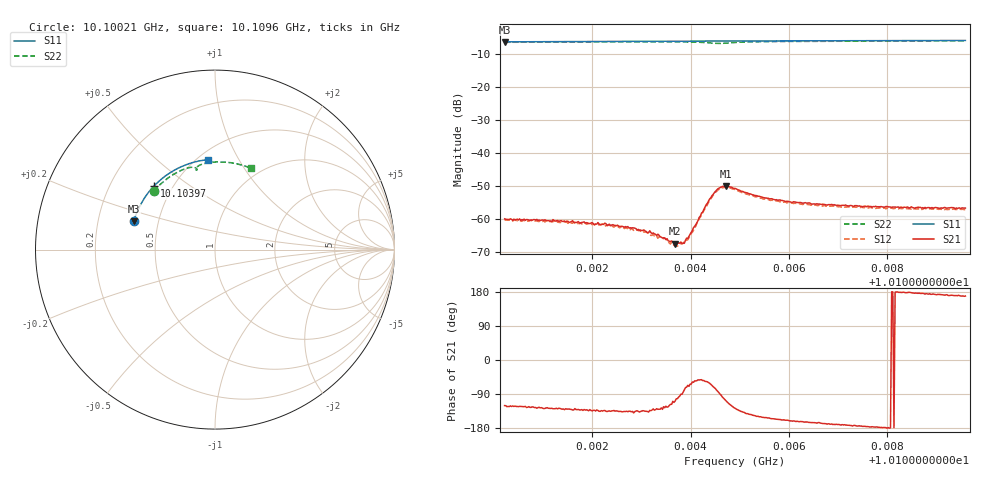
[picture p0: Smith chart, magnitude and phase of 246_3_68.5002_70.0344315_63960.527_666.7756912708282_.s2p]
#  HZ  S  RI  R  50.00
! Rohde & Schwarz Vector Network Analyzer
! Rohde-Schwarz,ZNB20-2Port,1311601062101988,3.16
! Created: UTC 3/20/2024, 4:59:39 PM
! freq[Hz]  re:S11  im:S11  re:S21  im:S21  re:S12  im:S12  re:S22  im:S22
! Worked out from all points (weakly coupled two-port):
!   401 points, 10.10021 GHz to 10.1096 GHz, reference 50 ohm
!   highest |S21| = -50.00 dB at 10.10472 GHz (marker M1); lowest = -67.3 dB at 10.10369 GHz (marker M2)
!   lowest |S11| = -6.4 dB at 10.10021 GHz (marker M3), VSWR 2.84, Z = 18 + j7.41 ohm
!   |S11| at or under -10 dB: nowhere
!   |S22| runs from -6.9 to -6.1 dB; largest |S21 - S12| = 0.00033
!   S11 on the Smith chart (normalised r, x): 10.10021 GHz: 0.36, +0.15; 10.10397 GHz: 0.40, +0.37; 10.1096 GHz: 0.56, +0.75
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1.0100213e10  -0.4524 0.1581  -0.000515 -0.000878  -0.000436 -0.000863  -0.341 0.3262
1.0101245e10  -0.4308 0.2173  -0.000585 -0.000736  -0.00051 -0.000752  -0.2936 0.3732
1.0101785e10  -0.4168 0.247  -0.000588 -0.00068  -0.000518 -0.00068  -0.2663 0.3953
1.0102301e10  -0.4012 0.2742  -0.000582 -0.000562  -0.000508 -0.000619  -0.2385 0.4144
1.0102911e10  -0.3806 0.305  -0.000476 -0.000495  -0.000475 -0.000508  -0.2035 0.4342
1.0103216e10  -0.3695 0.3199  -0.000408 -0.000454  -0.000337 -0.000464  -0.1848 0.4429
1.0103357e10  -0.3642 0.3267  -0.000369 -0.000444  -0.000313 -0.000442  -0.1758 0.4467
1.0103474e10  -0.3597 0.3321  -0.000306 -0.000421  -0.000289 -0.000439  -0.1682 0.4497
1.0103685e10  -0.3514 0.3419  -0.000137 -0.000409  -5.86e-05 -0.000395  -0.1539 0.4542
1.010385e10  -0.3446 0.3492  3.88e-05 -0.000433  8.35e-05 -0.000429  -0.1421 0.4571
1.0103896e10  -0.3427 0.3513  0.000142 -0.000461  0.000168 -0.000432  -0.1386 0.4577
1.0103967e10  -0.3398 0.3543  0.000194 -0.00052  0.000232 -0.000473  -0.1331 0.4585
1.0104342e10  -0.3234 0.3704  0.000935 -0.00147  0.000999 -0.00134  -0.1044 0.4531
1.0104459e10  -0.3183 0.3752  0.0008 -0.00224  0.000981 -0.0021  -0.0999 0.4466
1.01046e10  -0.3122 0.381  -3.07e-06 -0.00302  0.000232 -0.00287  -0.1024 0.4419
1.0104718e10  -0.3068 0.3856  -0.000944 -0.00302  -0.000651 -0.00296  -0.1058 0.4457
1.0104905e10  -0.2983 0.3931  -0.00177 -0.00234  -0.00149 -0.00237  -0.1018 0.4577
1.0105492e10  -0.2701 0.4147  -0.00187 -0.00101  -0.00167 -0.00113  -0.0634 0.4787
1.0106031e10  -0.2429 0.4327  -0.00173 -0.000614  -0.00161 -0.000755  -0.0268 0.4857
1.0106477e10  -0.2194 0.4462  -0.00164 -0.000434  -0.00157 -0.000577  0.00256 0.4882
1.0108049e10  -0.132 0.4827  -0.00154 -7.92e-06  -0.00148 -0.000174  0.1039 0.4813
1.0109597e10  -0.0402 0.5014  -0.00145 0.000286  -0.0014 0.000143  0.1988 0.4537
